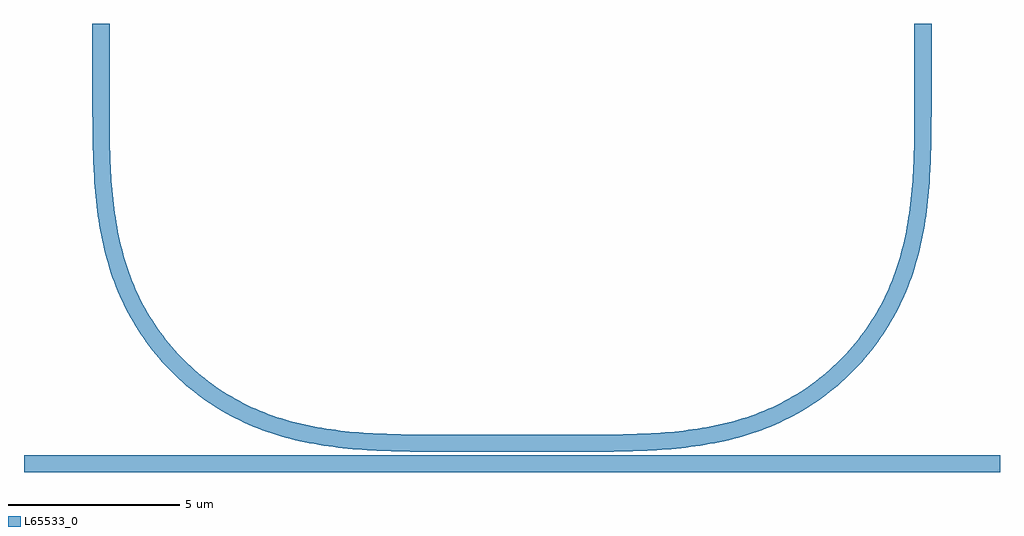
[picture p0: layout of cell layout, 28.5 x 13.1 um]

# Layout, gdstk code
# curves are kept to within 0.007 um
import gdstk
lib = gdstk.Library(unit=1e-6, precision=1e-09)
def R(c, l, rs):  # rectangles x0, y0, x1, y1
    for r in rs: c.add(gdstk.rectangle(r[:2], r[2:], *l))
def P(c, l, *ps):  # polygons
    for p in ps: c.add(gdstk.Polygon(p, *l))
L65533_0 = (65533, 0)

layout = lib.new_cell('layout')
R(layout, L65533_0, [(-16.25,-0.25,-14,0.25), (-14,-0.25,10,0.25), (10,-0.25,12.25,0.25), (-14.25,10.6,-13.75,12.85), (9.75,10.6,10.25,12.85)])
P(layout, L65533_0, [(-4.416,0.35),(-5.812,0.375),(-6.373,0.406),(-6.935,0.456),(-7.356,0.509),(-7.915,0.603),(-8.332,0.693),(-8.883,0.844),(-9.423,1.033),(-9.819,1.202),(-10.205,1.394),(-10.579,1.608),(-11.056,1.927),(-11.397,2.19),(-11.721,2.473),(-12.029,2.774),(-12.318,3.093),(-12.588,3.429),(-12.916,3.9),(-13.137,4.269),(-13.337,4.651),(-13.567,5.177),(-13.712,5.581),(-13.836,5.991),(-13.939,6.406),(-14.048,6.964),(-14.128,7.525),(-14.171,7.946),(-14.219,8.647),(-14.235,9.068),(-14.25,10.6),(-13.75,10.6),(-13.748,9.77),(-13.731,8.945),(-13.695,8.262),(-13.647,7.719),(-13.576,7.18),(-13.48,6.648),(-13.353,6.123),(-13.194,5.61),(-13.051,5.235),(-12.887,4.869),(-12.701,4.513),(-12.495,4.169),(-12.269,3.838),(-12.024,3.521),(-11.85,3.317),(-11.575,3.025),(-11.182,2.662),(-10.869,2.411),(-10.543,2.178),(-10.203,1.965),(-9.851,1.773),(-9.488,1.601),(-9.116,1.451),(-8.735,1.322),(-8.346,1.212),(-7.952,1.12),(-7.42,1.024),(-6.881,0.953),(-6.338,0.905),(-5.655,0.869),(-4.415,0.85),(1.243,0.858),(2.202,0.896),(3.016,0.969),(3.553,1.046),(4.084,1.149),(4.606,1.283),(4.99,1.406),(5.365,1.549),(5.731,1.713),(6.203,1.965),(6.543,2.178),(6.869,2.411),(7.283,2.75),(7.575,3.025),(7.938,3.418),(8.269,3.838),(8.495,4.169),(8.765,4.631),(8.999,5.112),(9.194,5.61),(9.353,6.123),(9.48,6.648),(9.596,7.315),(9.661,7.854),(9.719,8.672),(9.742,9.357),(9.75,10.6),(10.25,10.6),(10.248,9.766),(10.225,8.788),(10.194,8.227),(10.128,7.525),(10.048,6.964),(9.939,6.406),(9.797,5.854),(9.618,5.311),(9.398,4.781),(9.137,4.269),(8.837,3.78),(8.5,3.315),(8.224,2.985),(7.826,2.571),(7.397,2.19),(6.939,1.844),(6.579,1.608),(6.078,1.327),(5.688,1.143),(5.289,0.982),(4.883,0.844),(4.332,0.693),(3.776,0.577),(3.216,0.49),(2.373,0.406),(1.253,0.358)])

lib.write_gds('layout.gds')
